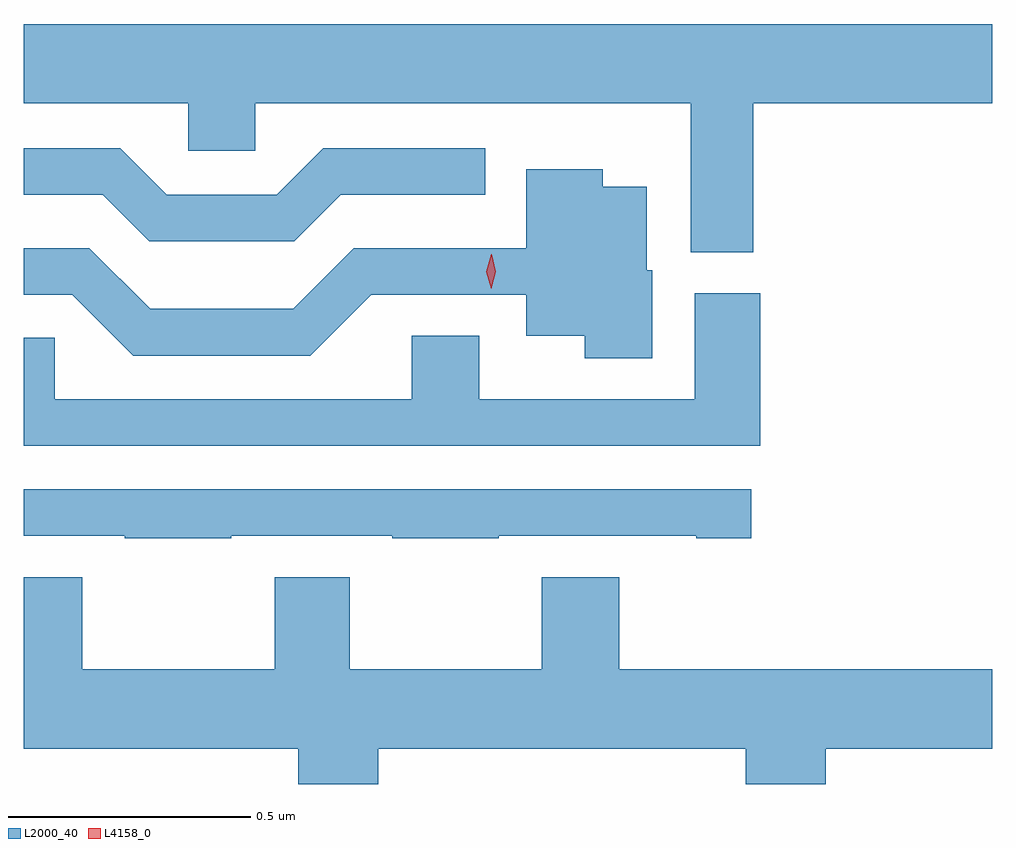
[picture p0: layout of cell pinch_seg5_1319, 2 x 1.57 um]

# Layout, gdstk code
import gdstk
lib = gdstk.Library(unit=1e-6, precision=1e-09)
def P(c, l, *ps):  # polygons
    for p in ps: c.add(gdstk.Polygon(p, *l))
L2000_40 = (2000, 40)
L4158_0 = (4158, 0)

pinch_seg5_1319 = lib.new_cell('pinch_seg5_1319')
P(pinch_seg5_1319, L2000_40, [(497.15,838.112),(497.644,838.112),(497.644,838.276),(495.644,838.276),(495.644,838.112),(495.984,838.112),(495.984,838.014),(496.122,838.014),(496.122,838.112),(497.021,838.112),(497.021,837.805),(497.15,837.805)],
  [(496.299,837.924),(496.597,837.924),(496.597,838.02),(496.263,838.02),(496.167,837.924),(495.939,837.924),(495.843,838.02),(495.644,838.02),(495.644,837.924),(495.807,837.924),(495.903,837.828),(496.203,837.828)],
  [(496.942,837.768),(496.93,837.768),(496.93,837.94),(496.84,837.94),(496.84,837.976),(496.682,837.976),(496.682,837.813),(496.326,837.813),(496.201,837.688),(495.905,837.688),(495.78,837.813),(495.644,837.813),(495.644,837.717),(495.744,837.717),(495.87,837.591),(496.236,837.591),(496.362,837.717),(496.682,837.717),(496.682,837.632),(496.802,837.632),(496.802,837.586),(496.942,837.586)],
  [(497.165,837.72),(497.03,837.72),(497.03,837.501),(496.585,837.501),(496.585,837.632),(496.445,837.632),(496.445,837.501),(495.708,837.501),(495.708,837.628),(495.644,837.628),(495.644,837.405),(497.165,837.405)],
  [(496.073,837.219),(496.405,837.219),(496.405,837.214),(496.625,837.214),(496.625,837.219),(497.033,837.219),(497.033,837.214),(497.146,837.214),(497.146,837.315),(495.644,837.315),(495.644,837.219),(495.853,837.219),(495.853,837.214),(496.073,837.214)],
  [(496.376,836.78),(497.135,836.78),(497.135,836.707),(497.3,836.707),(497.3,836.78),(497.644,836.78),(497.644,836.944),(496.874,836.944),(496.874,837.134),(496.714,837.134),(496.714,836.944),(496.317,836.944),(496.317,837.134),(496.162,837.134),(496.162,836.944),(495.765,836.944),(495.765,837.134),(495.644,837.134),(495.644,836.78),(496.211,836.78),(496.211,836.707),(496.376,836.707)])
P(pinch_seg5_1319, L4158_0, [(496.609,837.729),(496.609,837.729),(496.599,837.765),(496.609,837.801),(496.609,837.801),(496.61,837.801),(496.619,837.765),(496.609,837.729)])

lib.write_gds('pinch_seg5_1319.gds')
